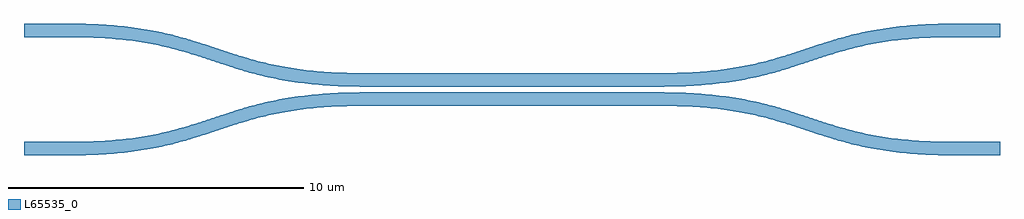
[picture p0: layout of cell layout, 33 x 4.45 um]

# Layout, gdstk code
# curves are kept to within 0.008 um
import gdstk
lib = gdstk.Library(unit=1e-6, precision=1e-09)
def R(c, l, rs):  # rectangles x0, y0, x1, y1
    for r in rs: c.add(gdstk.rectangle(r[:2], r[2:], *l))
def P(c, l, *ps):  # polygons
    for p in ps: c.add(gdstk.Polygon(p, *l))
L65535_0 = (65535, 0)

layout = lib.new_cell('layout')
R(layout, L65535_0, [(-11.5,-1.9,-10,-1.45), (20,-1.9,21.5,-1.45), (-11.5,2.1,-10,2.55), (20,2.1,21.5,2.55)])
P(layout, L65535_0, [(-10,-1.9),(-10,-1.45),(-9.28,-1.438),(-8.632,-1.402),(-8.046,-1.346),(-7.315,-1.238),(-6.756,-1.124),(-6.162,-0.97),(-5.608,-0.802),(-4.127,-0.32),(-3.527,-0.156),(-3.158,-0.071),(-2.451,0.058),(-1.89,0.131),(-1.143,0.193),(-0.303,0.223),(10,0.225),(10.874,0.207),(11.528,0.166),(12.007,0.118),(12.557,0.041),(12.964,-0.031),(13.527,-0.156),(14.371,-0.395),(16.081,-0.947),(16.581,-1.082),(17.123,-1.202),(17.721,-1.304),(18.39,-1.382),(19.28,-1.438),(20,-1.45),(20,-1.9),(19.406,-1.892),(18.857,-1.868),(18.349,-1.83),(17.767,-1.764),(17.036,-1.644),(16.209,-1.45),(15.47,-1.23),(14.079,-0.776),(13.244,-0.551),(12.782,-0.455),(12.279,-0.371),(11.727,-0.304),(11.117,-0.256),(10.582,-0.233),(10,-0.225),(-0.297,-0.227),(-0.987,-0.249),(-1.727,-0.304),(-2.383,-0.387),(-3.063,-0.511),(-3.919,-0.728),(-5.47,-1.23),(-6.124,-1.427),(-6.748,-1.583),(-7.338,-1.699),(-7.993,-1.793),(-8.598,-1.851),(-9.406,-1.892)],
  [(0,0.425),(-0.594,0.433),(-1.402,0.474),(-2.007,0.532),(-2.662,0.626),(-3.252,0.742),(-3.876,0.898),(-4.53,1.095),(-6.081,1.597),(-6.581,1.732),(-7.123,1.852),(-7.721,1.954),(-8.39,2.032),(-9.28,2.088),(-10,2.1),(-10,2.55),(-9.406,2.542),(-8.598,2.501),(-7.993,2.443),(-7.338,2.349),(-6.748,2.233),(-6.124,2.077),(-5.47,1.88),(-3.919,1.378),(-3.419,1.243),(-2.877,1.123),(-2.279,1.021),(-1.61,0.943),(-0.72,0.887),(0,0.875),(10,0.875),(10.72,0.887),(11.61,0.943),(12.486,1.053),(12.971,1.142),(13.419,1.243),(14.236,1.474),(15.955,2.029),(16.563,2.191),(17.135,2.313),(17.879,2.429),(18.472,2.491),(19.126,2.532),(20,2.55),(20,2.1),(19.28,2.088),(18.39,2.032),(17.721,1.954),(17.123,1.852),(16.581,1.732),(16.081,1.597),(14.371,1.045),(13.527,0.806),(13.062,0.701),(12.662,0.626),(11.89,0.519),(11.143,0.457),(10.303,0.427)])

lib.write_gds('layout.gds')
